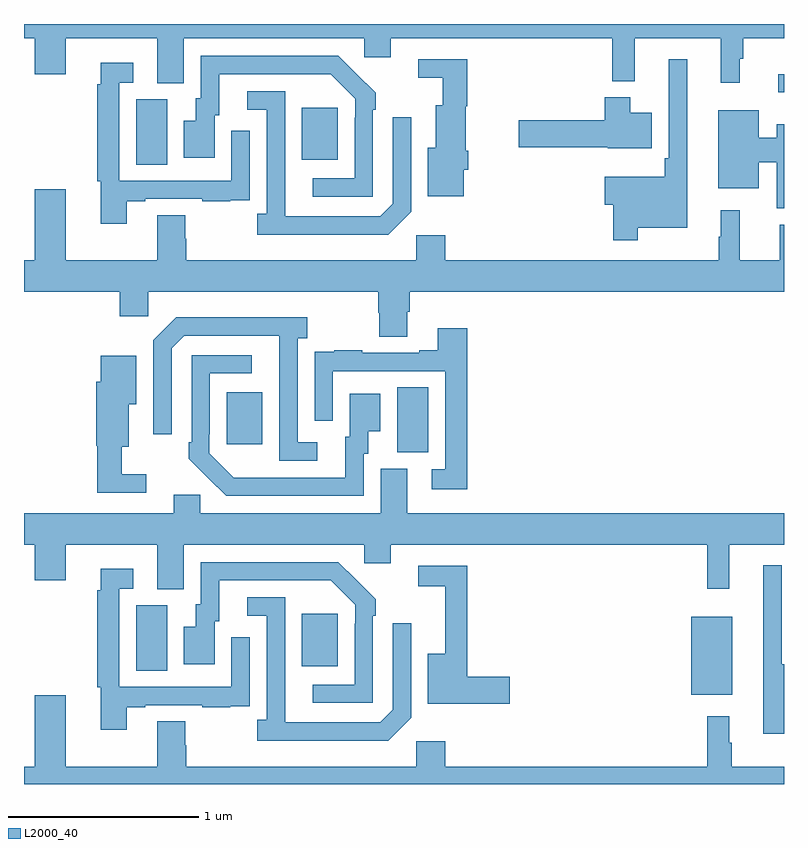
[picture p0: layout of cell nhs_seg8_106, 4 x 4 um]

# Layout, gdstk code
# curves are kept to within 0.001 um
import gdstk
lib = gdstk.Library(unit=1e-6, precision=1e-09)
def R(c, l, rs):  # rectangles x0, y0, x1, y1
    for r in rs: c.add(gdstk.rectangle(r[:2], r[2:], *l))
def P(c, l, *ps):  # polygons
    for p in ps: c.add(gdstk.Polygon(p, *l))
L2000_40 = (2000, 40)

nhs_seg8_106 = lib.new_cell('nhs_seg8_106')
R(nhs_seg8_106, L2000_40, [(120.512,1122.371,120.727,1122.781), (117.59,1122.496,117.754,1122.84), (118.463,1122.521,118.651,1122.796), (118.964,1123.645,119.128,1123.988), (118.067,1123.689,118.255,1123.963), (117.59,1125.16,117.754,1125.504), (118.463,1125.185,118.651,1125.46), (120.969,1125.54,121,1125.636)])
P(nhs_seg8_106, L2000_40, [(117.841,1125.824),(118.791,1125.824),(118.791,1125.726),(118.93,1125.726),(118.93,1125.824),(120.097,1125.824),(120.097,1125.599),(120.215,1125.599),(120.215,1125.824),(120.668,1125.824),(120.668,1125.591),(120.767,1125.591),(120.767,1125.716),(120.785,1125.716),(120.785,1125.824),(121,1125.824),(121,1125.9),(117,1125.9),(117,1125.824),(117.056,1125.824),(117.056,1125.636),(117.22,1125.636),(117.22,1125.824),(117.701,1125.824),(117.701,1125.589),(117.841,1125.589)],
  [(118.836,1125.449),(118.851,1125.449),(118.851,1125.537),(118.654,1125.732),(117.93,1125.732),(117.93,1125.51),(117.905,1125.51),(117.905,1125.391),(117.842,1125.391),(117.842,1125.195),(118.003,1125.195),(118.003,1125.42),(118.027,1125.42),(118.027,1125.636),(118.615,1125.636),(118.743,1125.507),(118.743,1125.407),(118.74,1125.407),(118.74,1125.087),(118.521,1125.087),(118.521,1124.991),(118.836,1124.991)],
  [(120.229,1124.828),(120.49,1124.828),(120.49,1125.715),(120.393,1125.715),(120.393,1125.193),(120.373,1125.193),(120.373,1125.097),(120.056,1125.097),(120.056,1124.95),(120.1,1124.95),(120.1,1124.763),(120.229,1124.763)],
  [(119.314,1125.132),(119.339,1125.132),(119.339,1125.232),(119.326,1125.232),(119.326,1125.468),(119.333,1125.468),(119.333,1125.714),(119.076,1125.714),(119.076,1125.617),(119.205,1125.617),(119.205,1125.472),(119.168,1125.472),(119.168,1125.25),(119.126,1125.25),(119.126,1124.993),(119.314,1124.993)],
  [(117.541,1124.967),(117.637,1124.967),(117.637,1124.979),(117.937,1124.979),(117.937,1124.967),(118.085,1124.967),(118.085,1124.973),(118.187,1124.973),(118.187,1125.082),(118.188,1125.082),(118.188,1125.337),(118.092,1125.337),(118.092,1125.075),(117.501,1125.075),(117.501,1125.591),(117.574,1125.591),(117.574,1125.697),(117.404,1125.697),(117.404,1125.584),(117.385,1125.584),(117.385,1125.072),(117.404,1125.072),(117.404,1124.85),(117.541,1124.85)],
  [(119.037,1124.913),(119.037,1125.409),(118.941,1125.409),(118.941,1124.955),(118.875,1124.889),(118.375,1124.889),(118.374,1125.546),(118.176,1125.546),(118.176,1125.45),(118.278,1125.45),(118.278,1124.902),(118.227,1124.902),(118.227,1124.792),(118.916,1124.792)],
  [(120.304,1125.433),(120.19,1125.433),(120.19,1125.514),(120.056,1125.514),(120.056,1125.393),(119.604,1125.393),(119.604,1125.251),(120.072,1125.251),(120.072,1125.245),(120.304,1125.245)],
  [(121,1125.373),(120.962,1125.373),(120.962,1125.301),(120.868,1125.301),(120.868,1125.445),(120.653,1125.445),(120.653,1125.035),(120.868,1125.035),(120.868,1125.172),(120.962,1125.172),(120.962,1124.929),(121,1124.929)],
  [(119.017,1124.386),(119.03,1124.386),(119.03,1124.492),(121,1124.492),(121,1124.844),(120.977,1124.844),(120.977,1124.656),(120.767,1124.656),(120.767,1124.92),(120.668,1124.92),(120.668,1124.78),(120.657,1124.78),(120.657,1124.656),(119.216,1124.656),(119.216,1124.788),(119.064,1124.788),(119.064,1124.656),(117.854,1124.656),(117.854,1124.769),(117.849,1124.769),(117.849,1124.894),(117.701,1124.894),(117.701,1124.656),(117.22,1124.656),(117.22,1125.031),(117.056,1125.031),(117.056,1124.656),(117,1124.656),(117,1124.492),(117.503,1124.492),(117.503,1124.361),(117.654,1124.361),(117.654,1124.492),(118.865,1124.492),(118.865,1124.379),(118.87,1124.379),(118.87,1124.254),(119.017,1124.254)],
  [(118.543,1123.698),(118.44,1123.698),(118.44,1124.246),(118.492,1124.246),(118.492,1124.356),(117.802,1124.356),(117.681,1124.235),(117.681,1123.74),(117.777,1123.74),(117.777,1124.193),(117.843,1124.259),(118.343,1124.259),(118.344,1123.602),(118.543,1123.602)],
  [(119.333,1124.299),(119.177,1124.299),(119.177,1124.182),(119.081,1124.182),(119.081,1124.169),(118.781,1124.169),(118.781,1124.182),(118.633,1124.182),(118.633,1124.175),(118.531,1124.175),(118.531,1124.066),(118.53,1124.066),(118.53,1123.812),(118.626,1123.812),(118.626,1124.073),(119.217,1124.073),(119.217,1123.557),(119.145,1123.557),(119.145,1123.452),(119.333,1123.452)],
  [(118.788,1123.638),(118.813,1123.638),(118.813,1123.757),(118.876,1123.757),(118.876,1123.954),(118.715,1123.954),(118.715,1123.728),(118.691,1123.728),(118.691,1123.512),(118.104,1123.513),(117.975,1123.641),(117.975,1123.741),(117.978,1123.741),(117.978,1124.061),(118.198,1124.061),(118.198,1124.157),(117.882,1124.157),(117.882,1123.699),(117.867,1123.699),(117.867,1123.611),(118.064,1123.416),(118.788,1123.416)],
  [(117.643,1123.531),(117.514,1123.531),(117.514,1123.676),(117.55,1123.676),(117.55,1123.898),(117.592,1123.898),(117.592,1124.155),(117.404,1124.155),(117.404,1124.016),(117.38,1124.016),(117.38,1123.68),(117.385,1123.68),(117.385,1123.434),(117.643,1123.434)],
  [(117.841,1123.16),(118.791,1123.16),(118.791,1123.062),(118.93,1123.062),(118.93,1123.16),(120.595,1123.16),(120.595,1122.927),(120.713,1122.927),(120.713,1123.16),(121,1123.16),(121,1123.324),(119.017,1123.324),(119.017,1123.56),(118.877,1123.56),(118.877,1123.324),(117.927,1123.324),(117.927,1123.422),(117.788,1123.422),(117.788,1123.324),(117,1123.324),(117,1123.16),(117.056,1123.16),(117.056,1122.972),(117.22,1122.972),(117.22,1123.16),(117.701,1123.16),(117.701,1122.925),(117.841,1122.925)],
  [(118.836,1122.785),(118.851,1122.785),(118.851,1122.873),(118.654,1123.068),(117.93,1123.068),(117.93,1122.846),(117.905,1122.846),(117.905,1122.727),(117.842,1122.727),(117.842,1122.531),(118.003,1122.531),(118.003,1122.756),(118.027,1122.756),(118.027,1122.972),(118.615,1122.972),(118.743,1122.843),(118.743,1122.743),(118.74,1122.743),(118.74,1122.423),(118.521,1122.423),(118.521,1122.327),(118.836,1122.327)],
  [(121,1122.529),(120.987,1122.529),(120.987,1123.051),(120.89,1123.051),(120.89,1122.164),(121,1122.164)],
  [(119.557,1122.464),(119.333,1122.464),(119.333,1123.05),(119.076,1123.05),(119.076,1122.942),(119.216,1122.942),(119.216,1122.586),(119.126,1122.586),(119.126,1122.322),(119.557,1122.322)],
  [(117.541,1122.303),(117.637,1122.303),(117.637,1122.315),(117.937,1122.315),(117.937,1122.303),(118.085,1122.303),(118.085,1122.309),(118.187,1122.309),(118.187,1122.418),(118.188,1122.418),(118.188,1122.673),(118.092,1122.673),(118.092,1122.411),(117.501,1122.411),(117.501,1122.927),(117.574,1122.927),(117.574,1123.033),(117.404,1123.033),(117.404,1122.92),(117.385,1122.92),(117.385,1122.408),(117.404,1122.408),(117.404,1122.186),(117.541,1122.186)],
  [(119.037,1122.249),(119.037,1122.745),(118.941,1122.745),(118.941,1122.291),(118.875,1122.225),(118.375,1122.225),(118.374,1122.882),(118.176,1122.882),(118.176,1122.786),(118.278,1122.786),(118.278,1122.238),(118.227,1122.238),(118.227,1122.128),(118.916,1122.128)],
  [(121,1121.992),(120.724,1121.992),(120.724,1122.116),(120.712,1122.116),(120.712,1122.256),(120.595,1122.256),(120.595,1121.992),(119.216,1121.992),(119.216,1122.124),(119.064,1122.124),(119.064,1121.992),(117.854,1121.992),(117.854,1122.105),(117.849,1122.105),(117.849,1122.23),(117.701,1122.23),(117.701,1121.992),(117.22,1121.992),(117.22,1122.367),(117.056,1122.367),(117.056,1121.992),(117,1121.992),(117,1121.9),(121,1121.9)])

lib.write_gds('nhs_seg8_106.gds')
